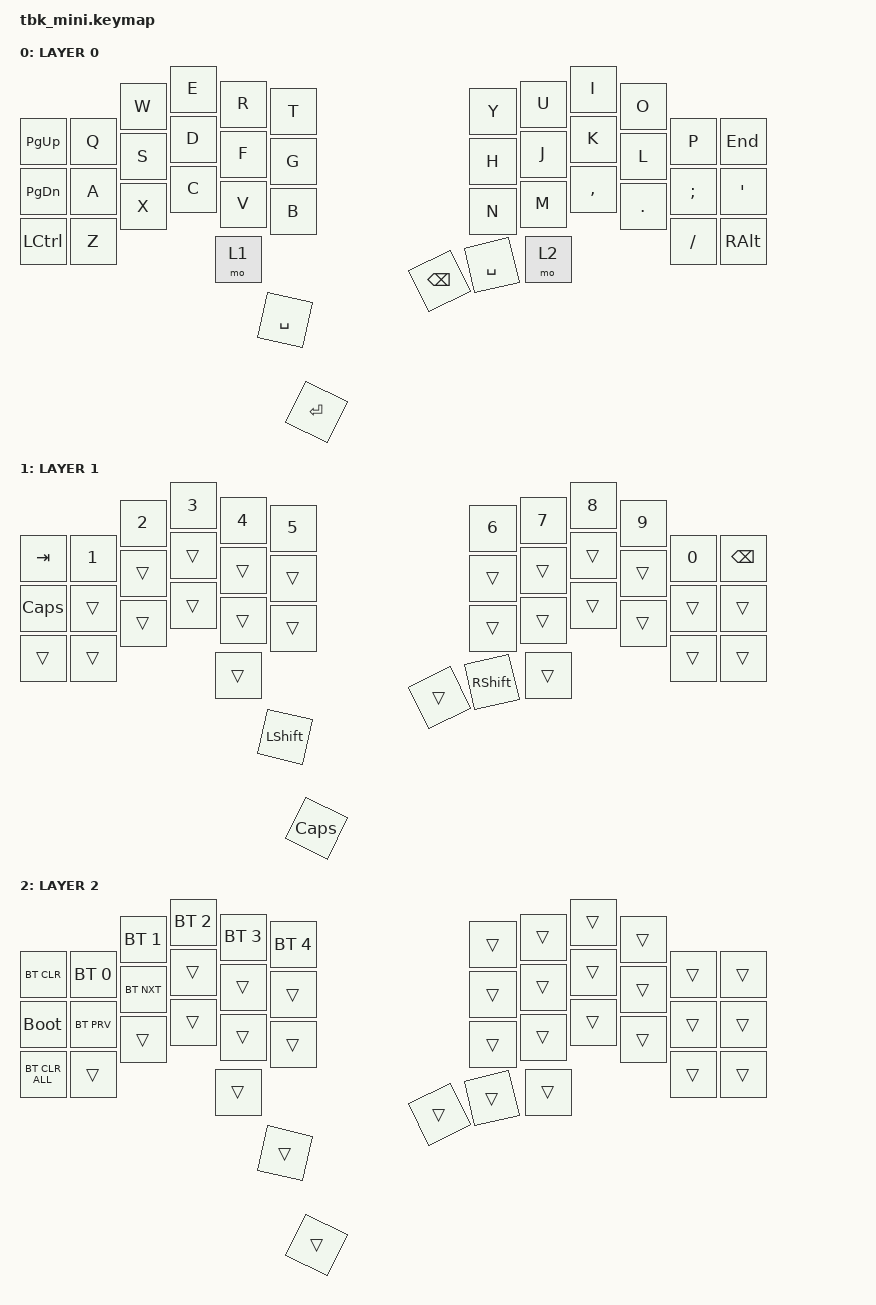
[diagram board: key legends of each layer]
/*
 * Copyright (c) 2020 The ZMK Contributors
 *
 * SPDX-License-Identifier: MIT
 */

#include <behaviors.dtsi>
#include <dt-bindings/zmk/bt.h>
#include <dt-bindings/zmk/keys.h>

/ {
    keymap {
        compatible = "zmk,keymap";

        default_layer {
            bindings = <
&kp PG_UP    &kp Q           &kp W           &kp E        &kp R             &kp T        &kp Y  &kp U             &kp I          &kp O            &kp P               &kp END
&kp PG_DN    &kp A           &kp S           &kp D        &kp F             &kp G        &kp H  &kp J             &kp K          &kp L            &kp SEMI            &kp SQT
&kp LCTRL    &kp Z           &kp X           &kp C        &kp V             &kp B        &kp N  &kp M             &kp COMMA      &kp DOT          &kp FSLH            &kp RALT
                                             &mo 1      &kp SPACE           &kp ENTER      &kp BACKSPACE            &kp SPACE      &mo 2
            >;
            display-name = "LAYER 0";
        };

        lower_layer {
            bindings = <
&kp TAB      &kp N1  &kp N2  &kp N3  &kp N4  &kp N5   &kp N6     &kp N7           &kp N8     &kp N9  &kp N0   &kp BSPC
&kp CLCK     &trans  &trans  &trans  &trans  &trans   &trans     &trans           &trans     &trans  &trans   &trans
&trans       &trans  &trans  &trans  &trans  &trans   &trans     &trans           &trans     &trans  &trans   &trans
                             &trans  &kp LEFT_SHIFT   &kp CLCK   &trans     &kp RIGHT_SHIFT  &trans
            >;
            display-name = "LAYER 1";
        };

        raise_layer {
            bindings = <
&bt BT_CLR     &bt BT_SEL 0  &bt BT_SEL 1  &bt BT_SEL 2  &bt BT_SEL 3  &bt BT_SEL 4   &trans    &trans   &trans     &trans  &trans   &trans
&bootloader    &bt BT_PRV    &bt BT_NXT    &trans        &trans        &trans         &trans    &trans   &trans     &trans  &trans   &trans
&bt BT_CLR_ALL &trans        &trans        &trans        &trans        &trans         &trans    &trans   &trans     &trans  &trans   &trans
                                           &trans        &trans        &trans         &trans    &trans   &trans
            >;
            display-name = "LAYER 2";
        };
    };
};
